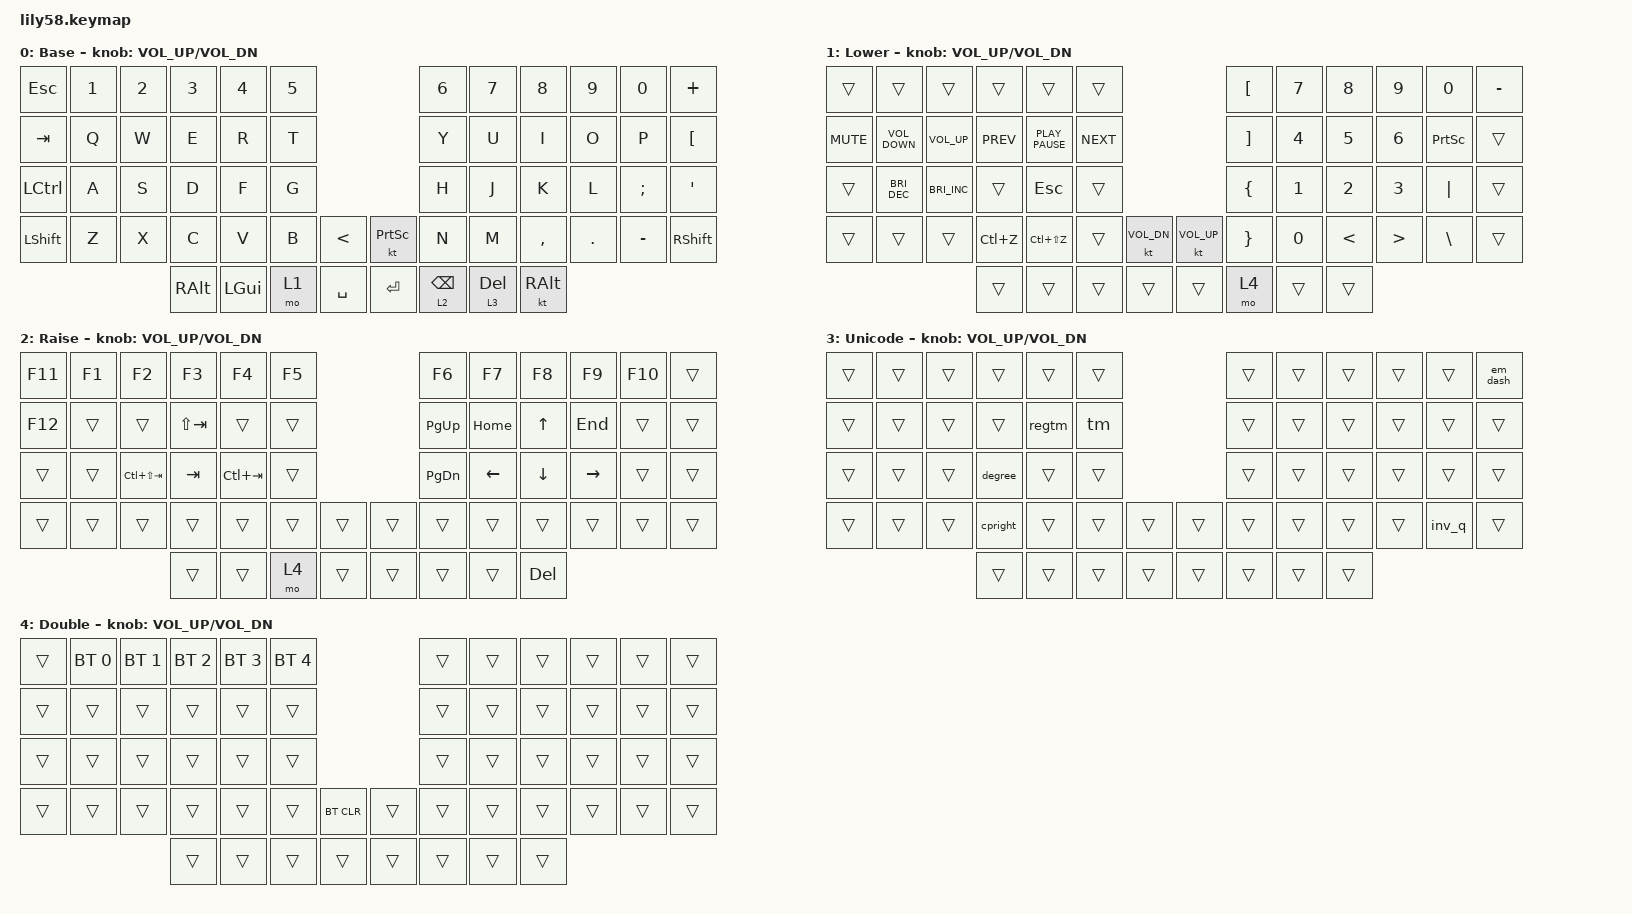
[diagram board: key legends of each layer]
/*
 * Copyright (c) 2020 The ZMK Contributors
 *
 * SPDX-License-Identifier: MIT
 *
 * https://zmk.dev/docs/codes
 */
/*
https://zmk.dev/docs/behaviors/mouse-emulation

Setup for future touch/trackpad?
*/

#include <behaviors.dtsi>
#include <dt-bindings/zmk/bt.h>
#include <dt-bindings/zmk/keys.h>
#include <dt-bindings/zmk/keys.h>

/ {
    macros {
        /*
        https://zmk.dev/docs/behaviors/macros
 
        Type unicode characters using macros until https://github.com/zmkfirmware/zmk/issues/232 is merged.
        See:
        * https://icyphox.sh/blog/zmk-unicode/
        * https://zmk.dev/docs/behaviors/macros#unicode-sequences
        */
    };

    behaviors {
        /*
        https://zmk.dev/docs/behaviors/mod-morph
        */

        bspc_del: backspace_delete {
            compatible = "zmk,behavior-mod-morph";
            #binding-cells = <0>;
            bindings = <&kp BACKSPACE>, <&kp DELETE>;

            mods = <(MOD_LSFT|MOD_RSFT)>;
            keep-mods = <(MOD_RSFT)>;
        };
    };

    combos {
        /*
        https://zmk.dev/docs/features/combos

        -------------------------------------------------------------------------
        |  0 |  1 |  2 |  3 |  4 |  5 |           |  6 |  7 |  8 |  9 | 10 | 11 |
        | 12 | 13 | 14 | 15 | 16 | 17 |           | 18 | 19 | 20 | 21 | 22 | 23 |
        | 24 | 25 | 26 | 27 | 28 | 29 |           | 30 | 31 | 32 | 33 | 34 | 35 |
        | 36 | 37 | 38 | 39 | 40 | 41 | 42 | | 43 | 44 | 45 | 46 | 47 | 48 | 49 |
                       | 49 | 50 | 51 | 52 | | 53 | 54 | 55 | 56 | 57 |
        */

        compatible = "zmk,combos";
    };

    keymap {
        compatible = "zmk,keymap";

        default_layer {
            /*
                ------------------------------------------------------------------------------------------------------------------------------------
                |    `    |   1   |  2   |    3    |    4    |   5   |                    |    6   |   7   |    8     |    9   |   0    |     -    |
                |   TAB   |   Q   |  W   |    E    |    R    |   T   |                    |    Y   |   U   |    I     |    O   |   P    |     =    |
                |   CTRL  |   A   |  S   |    D    |    F    |   G   |                    |    H   |   J   |    K     |    L   |   ;    |     '    |
                |  SHIFT  |   Z   |  X   |    C    |    V    |   B   |   ESC   | |  M_LC  |    N   |   M   |    ,     |    .   |   /    |   SHIFT  |
                                         |   ALT   |   MOD   | LOWER |  SPACE  | | ENTER  |  RAISE |  COMP | BSPC_DEL |
        */

            display-name = "Base";
            bindings = <
&kp ESC    &kp N1  &kp N2  &kp N3         &kp N4    &kp N5                                    &kp N6           &kp N7        &kp N8         &kp N9   &kp N0     &kp PLUS
&kp TAB    &kp Q   &kp W   &kp E          &kp R     &kp T                                     &kp Y            &kp U         &kp I          &kp O    &kp P      &kp LEFT_BRACKET
&kp LCTRL  &kp A   &kp S   &kp D          &kp F     &kp G                                     &kp H            &kp J         &kp K          &kp L    &kp SEMI   &kp SQT
&kp LSHFT  &kp Z   &kp X   &kp C          &kp V     &kp B   &kp LESS_THAN    &kt PRINTSCREEN  &kp N            &kp M         &kp COMMA      &kp DOT  &kp MINUS  &kp RSHFT
                           &kp RIGHT_ALT  &kp LGUI  &mo 1   &kp SPACE        &kp RET          &lt 2 BACKSPACE  &lt 3 DELETE  &kt RIGHT_ALT
            >;

            sensor-bindings = <&inc_dec_kp C_VOL_UP C_VOL_DN>;
        };

        lower_layer {
            /*
                ------------------------------------------------------------------------------------------------------------------------------------------------------------------------------
                |         |                     |                     |             |                 |            |                |   [   |    7    |    8   |    9    |     0    |    -   |
                |   MUTE  |        VOL_DN       |        VOL_UP       |     PREV    |    PLAY/PAUSE   |    NEXT    |                |   ]   |    4    |    5   |    6    |   PSCRN  |        |
                |         |        BRI_DN       |        BRI_UP       |             |       ESC       |            |                |   {   |    1    |    2   |    3    |     |    |        |
                |         |                     |                     |     UNDO    |       REDO      |            |       | |      |   {   |    0    |    <   |    >    |     \    |        |
                                                                      |             |                 |            |       | |      |  L4   |         |        |
            */

            display-name = "Lower";
            bindings = <
&trans      &trans                &trans                &trans      &trans            &trans                                    &kp LBKT  &kp N7  &kp N8  &kp N9  &kp N0     &kp MINUS
&kp K_MUTE  &kp K_VOLUME_DOWN     &kp K_VOLUME_UP       &kp K_PREV  &kp K_PLAY_PAUSE  &kp K_NEXT                                &kp RBKT  &kp N4  &kp N5  &kp N6  &kp PSCRN  &trans
&trans      &kp C_BRIGHTNESS_DEC  &kp C_BRIGHTNESS_INC  &trans      &kp ESC           &trans                                    &kp LBRC  &kp N1  &kp N2  &kp N3  &kp PIPE   &trans
&trans      &trans                &trans                &kp LC(Z)   &kp LC(LS(Z))     &trans      &kt C_VOL_DN    &kt C_VOL_UP  &kp RBRC  &kp N0  &kp LT  &kp GT  &kp BSLH   &trans
                                                        &trans      &trans            &trans      &trans          &trans        &mo 4     &trans  &trans
            >;

            sensor-bindings = <&inc_dec_kp C_VOL_UP C_VOL_DN>;
        };

        raise_layer {
            /*
                Holding LCtrl with LC(LS(TAB)) and LC(TAB) in VSCode keeps the tab switcher open.
                Reminder that we can also hold LCtrl with PAGE_UP and PAGE_DOWN to switch tabs.

                When mouse emulation scrolling is added:
                https://github.com/zmkfirmware/zmk/pull/2027
                We can add the triggers for these:
                M_LT   |   M_DN  |    M_UP  |    M_RT  |

                ----------------------------------------------------------------------------------------------------------------------------------------------------------
                |  F11  |   F1   |      F2      |     F3     |     F4     |   F5   |                 |      F6      |   F7     |    F8   |    F9    |    F10   |         |
                |  F12  |        |    LS+TAB    |            |            |        |                 |     P_UP     |   HOME   |    ^    |    END   |          |         |
                |       |        |   LS+LC+TAB  |    TAB     |   LC+TAB   |        |                 |    P_DOWN    |    <-    |    v    |    ->    |          |         |
                |       |        |              |            |            |        |       |  |      |              |   M_LT   |   M_DN  |    M_UP  |    M_RT  |         |
                                                             |            |        |   L4  |  |      |              |          |         |    DEL   |
            */

            display-name = "Raise";
            bindings = <
&kp F11  &kp F1  &kp F2           &kp F3       &kp F4       &kp F5                    &kp F6         &kp F7    &kp F8      &kp F9     &kp F10  &trans
&kp F12  &trans  &trans           &kp LS(TAB)  &trans       &trans                    &kp PAGE_UP    &kp HOME  &kp UP      &kp END    &trans   &trans
&trans   &trans  &kp LC(LS(TAB))  &kp TAB      &kp LC(TAB)  &trans                    &kp PAGE_DOWN  &kp LEFT  &kp DOWN    &kp RIGHT  &trans   &trans
&trans   &trans  &trans           &trans       &trans       &trans  &trans    &trans  &trans         &trans    &trans      &trans     &trans   &trans
                                  &trans       &trans       &mo 4   &trans    &trans  &trans         &trans    &kp DELETE
            >;

            sensor-bindings = <&inc_dec_kp C_VOL_UP C_VOL_DN>;
        };

        unicode_layer {
            /*
            -------------------------------------------------------------------------------------------------------------------------
            |         |        |       |        |    ®   |   ™   |                 |       |       |       |       |      |  EM DASH|
            |         |        |       |        |        |       |                 |       |       |       |       |      |         |
            |         |        |   °   |        |        |       |                 |       |       |       |       |      |         |
            |         |        |       |        |        |       |       | |       |       |       |       |       |   ¿  |         |
                                       |        |        |       |       | |       |       |       |       |       |
            */

            display-name = "Unicode";
            bindings = <
&trans  &trans  &trans  &trans    &trans  &trans                    &trans  &trans  &trans  &trans  &trans  &em_dash
&trans  &trans  &trans  &trans    &regtm  &tm                       &trans  &trans  &trans  &trans  &trans  &trans
&trans  &trans  &trans  &degree   &trans  &trans                    &trans  &trans  &trans  &trans  &trans  &trans
&trans  &trans  &trans  &cpright  &trans  &trans  &trans    &trans  &trans  &trans  &trans  &trans  &inv_q  &trans
                        &trans    &trans  &trans  &trans    &trans  &trans  &trans  &trans
            >;

            sensor-bindings = <&inc_dec_kp C_VOL_UP C_VOL_DN>;
        };

        double_layer {
            /*
                ------------------------------------------------------------------------------------------------------------------------------------------------
                |     |      BT1     |     BT2    |     BT3     |      BT4     |     BT5    |                   |       |       |       |       |       |      |
                |     |              |            |             |              |            |                   |       |       |       |       |       |      |
                |     |              |            |             |              |            |                   |       |       |       |       |       |      |
                |     |              |            |             |              |            |  BTCLR  |  |      |       |       |       |       |       |      |
                                                  |             |              |            |         |  |      |       |       |       |
          */

            display-name = "Double";
            bindings = <
&trans  &bt BT_SEL 0  &bt BT_SEL 1  &bt BT_SEL 2  &bt BT_SEL 3  &bt BT_SEL 4                        &trans  &trans  &trans  &trans  &trans  &trans
&trans  &trans        &trans        &trans        &trans        &trans                              &trans  &trans  &trans  &trans  &trans  &trans
&trans  &trans        &trans        &trans        &trans        &trans                              &trans  &trans  &trans  &trans  &trans  &trans
&trans  &trans        &trans        &trans        &trans        &trans        &bt BT_CLR    &trans  &trans  &trans  &trans  &trans  &trans  &trans
                                    &trans        &trans        &trans        &trans        &trans  &trans  &trans  &trans
            >;

            sensor-bindings = <&inc_dec_kp C_VOL_UP C_VOL_DN>;
        };
    };
};
